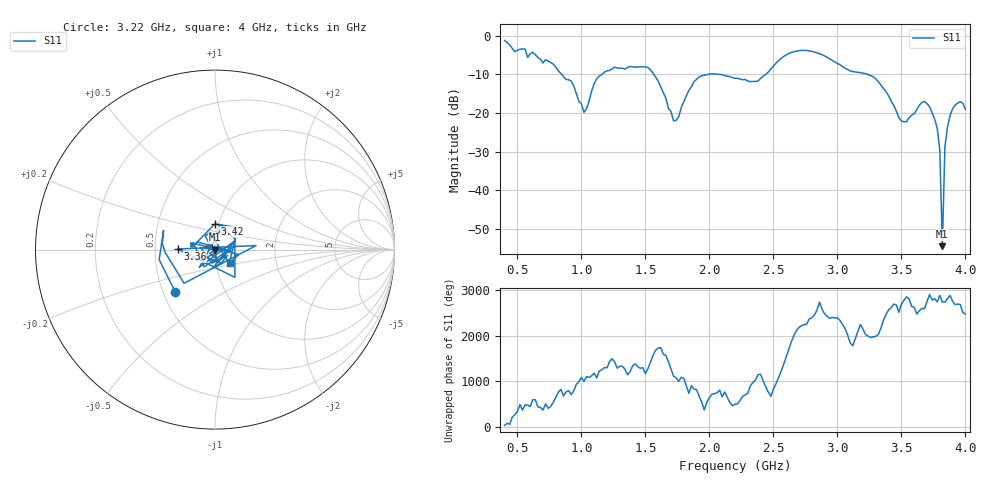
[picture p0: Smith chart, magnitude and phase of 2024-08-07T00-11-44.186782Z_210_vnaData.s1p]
!Created with skrf (http://scikit-rf.org).
# Hz S RI R 50.0
!freq ReS11 ImS11
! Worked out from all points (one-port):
!   181 points, 400 MHz to 4 GHz, reference 50 ohm
!   lowest |S11| = -54.5 dB at 3.82 GHz (marker M1), VSWR 1.00, Z = 49.9 - j0.125 ohm
!   |S11| at or under -10 dB: 1.566 GHz to 1.988 GHz (422 MHz wide, 23.7 % of centre); 2.088 GHz to 2.441 GHz (352.8 MHz wide, 15.6 % of centre); 3.24 GHz to end of sweep (the widest 3 of 4)
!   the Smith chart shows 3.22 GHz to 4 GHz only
!   S11 on the Smith chart (normalised r, x): 3.22 GHz: 0.58, -0.31; 3.36 GHz: 0.66, +0.00; 3.42 GHz: 0.96, +0.28; 4 GHz: 1.17, -0.18
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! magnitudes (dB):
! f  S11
! 400 MHz  -1.2
! 860 MHz  -10.5
! 920 MHz  -11.7
! 1.02 GHz  -19.8
! 1.12 GHz  -11.1
! 1.3 GHz  -8.4
! 1.52 GHz  -8.2
! 1.6 GHz  -11.7
! 1.72 GHz  -22.0
! 1.76 GHz  -21.0
! 1.92 GHz  -10.7
! 2.2 GHz  -11.0
! 2.38 GHz  -11.7
! 2.66 GHz  -4.1
! 3.1 GHz  -9.1
! 3.22 GHz  -9.8
! 3.36 GHz  -13.7
! 3.42 GHz  -16.9
! 3.5 GHz  -22.1
! 3.56 GHz  -21.2
! 3.68 GHz  -17.0
! 3.78 GHz  -23.9
! 3.8 GHz  -29.5
! 3.82 GHz  -54.5
! 3.84 GHz  -28.7
! 3.86 GHz  -23.7
! 3.92 GHz  -17.9
! 4 GHz  -19.0
